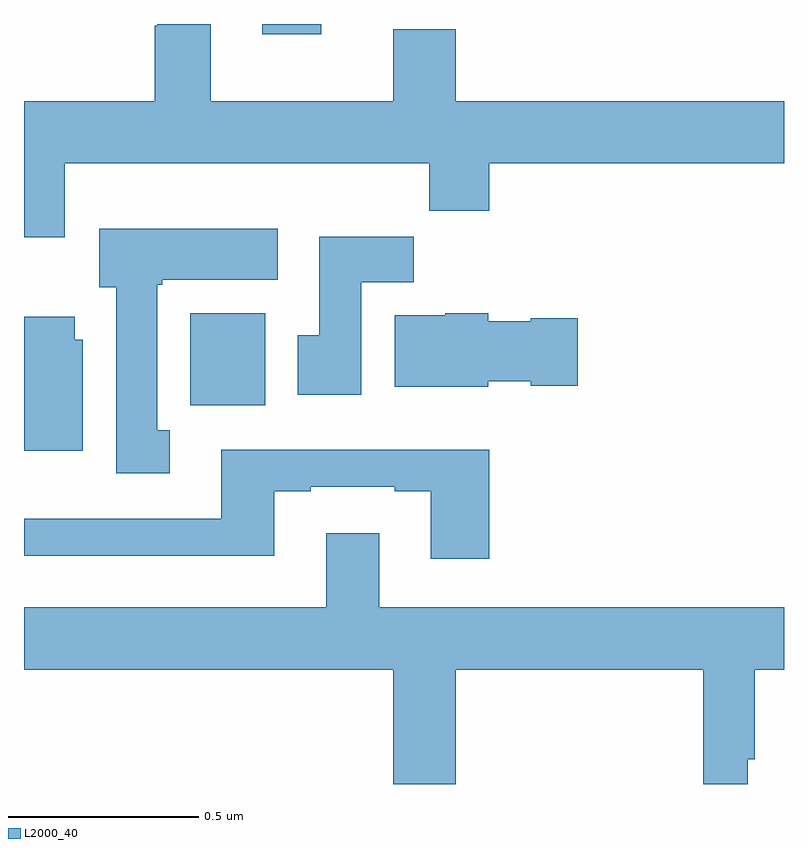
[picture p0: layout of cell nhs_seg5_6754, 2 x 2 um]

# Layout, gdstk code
import gdstk
lib = gdstk.Library(unit=1e-6, precision=1e-09)
def R(c, l, rs):  # rectangles x0, y0, x1, y1
    for r in rs: c.add(gdstk.rectangle(r[:2], r[2:], *l))
def P(c, l, *ps):  # polygons
    for p in ps: c.add(gdstk.Polygon(p, *l))
L2000_40 = (2000, 40)

nhs_seg5_6754 = lib.new_cell('nhs_seg5_6754')
R(nhs_seg5_6754, L2000_40, [(200.438,850.796,200.635,851.038), (200.627,851.772,200.782,851.799)])
P(nhs_seg5_6754, L2000_40, [(200.972,851.596),(200.491,851.596),(200.491,851.799),(200.351,851.799),(200.351,851.795),(200.344,851.795),(200.344,851.596),(200,851.596),(200,851.238),(200.107,851.238),(200.107,851.432),(201.067,851.432),(201.067,851.308),(201.224,851.308),(201.224,851.432),(202,851.432),(202,851.596),(201.136,851.596),(201.136,851.785),(200.972,851.785)],
  [(200.383,850.73),(200.35,850.73),(200.35,851.113),(200.364,851.113),(200.364,851.126),(200.668,851.126),(200.668,851.26),(200.198,851.26),(200.198,851.106),(200.243,851.106),(200.243,850.617),(200.383,850.617)],
  [(200.887,851.12),(201.026,851.12),(201.026,851.239),(200.777,851.239),(200.777,850.98),(200.72,850.98),(200.72,850.824),(200.887,850.824)],
  [(201.222,850.859),(201.333,850.859),(201.333,850.847),(201.457,850.847),(201.457,851.025),(201.333,851.025),(201.333,851.017),(201.222,851.017),(201.222,851.038),(201.108,851.038),(201.108,851.032),(200.975,851.032),(200.975,850.844),(201.222,850.844)],
  [(200.155,850.968),(200.134,850.968),(200.134,851.029),(200,851.029),(200,850.676),(200.155,850.676)],
  [(201.224,850.678),(200.519,850.678),(200.519,850.497),(200,850.497),(200,850.4),(200.659,850.4),(200.659,850.569),(200.755,850.569),(200.755,850.581),(200.975,850.581),(200.975,850.569),(201.071,850.569),(201.071,850.392),(201.224,850.392)],
  [(201.136,850.1),(201.787,850.1),(201.787,849.799),(201.905,849.799),(201.905,849.864),(201.923,849.864),(201.923,850.1),(202,850.1),(202,850.264),(200.935,850.264),(200.935,850.459),(200.795,850.459),(200.795,850.264),(200,850.264),(200,850.1),(200.972,850.1),(200.972,849.799),(201.136,849.799)])

lib.write_gds('nhs_seg5_6754.gds')
